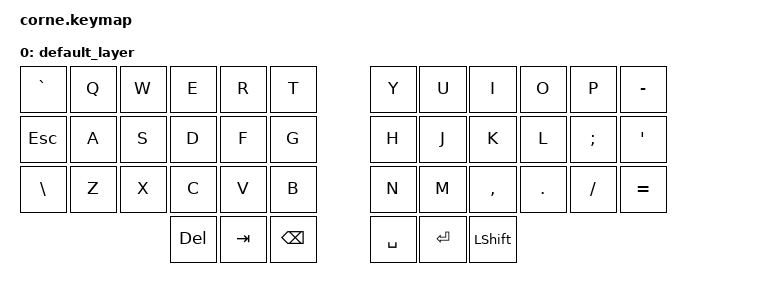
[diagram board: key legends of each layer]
#include <behaviors.dtsi>
#include <dt-bindings/zmk/keys.h>
#include <dt-bindings/zmk/bt.h>

#include "./corne_key_positions.h"

#define HOMEROW_TAPPING_TERM_MS 200
#define QUICK_TAP_MS 150
#define PRIOR_IDLE_MS 100

#define THUMB_TAPPING_TERM_MS 180
#define COMBO_TERM_MS 50

#define XXX &none
#define ___ &trans

/ {
  keymap {
    compatible = "zmk,keymap";
    default_layer {bindings = <
        &kp GRAVE &kp Q &kp W &kp E &kp R &kp T   &kp Y &kp U  &kp I     &kp O   &kp P    &kp MINUS
        &kp ESC   &kp A &kp S &kp D &kp F &kp G   &kp H &kp J  &kp K     &kp L   &kp SEMI &kp SQT
        &kp BSLH  &kp Z &kp X &kp C &kp V &kp B   &kp N &kp M  &kp COMMA &kp DOT &kp FSLH &kp EQUAL
                     &kp DEL &kp TAB &kp BSPC   &kp SPACE &kp RET &kp LSHFT
      >;
    };
  };
};
